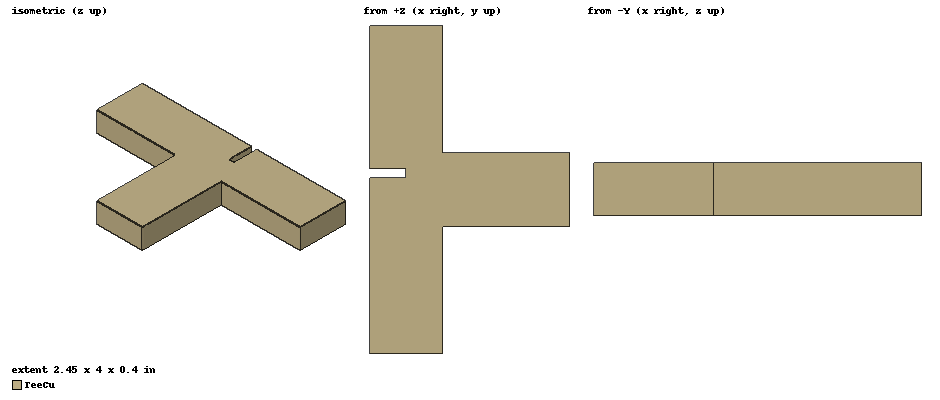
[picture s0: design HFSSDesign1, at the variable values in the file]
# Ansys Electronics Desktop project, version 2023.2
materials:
  vacuum: permittivity=1
  copper: permeability=0.999991 conductivity=58000000
  FR4_epoxy: permittivity=4.4 dielectric_loss_tangent=0.02

design HFSSDesign1 (HFSS, HFSS Modal Network, model units in)
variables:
  Offset = 0.2in
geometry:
  TeeCu [vacuum] = box(corner=(0in, -0.45in, 0in), size=(2in, 0.9in, 0.4in))
  TeeCu_1 = TeeCu.duplicate_around_axis(axis=Z, angle=90deg, total=2)
  TeeCu_2 = TeeCu.duplicate_around_axis(axis=Z, angle=-90deg, total=2)
  TeeCu.unite(TeeCu_1, TeeCu_2)
  Septum = box(corner=(-0.45in, Offset-0.05in, 0in), size=(0.45in, 0.1in, 0.4in))
  TeeCu.subtract(Septum)
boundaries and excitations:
  Port1: Wave Port Faces=TeeCu.face(+x) WavePortType=Default NumModes=1 Modes{Mode1{IntLine{(2, 0, 0) -> (2, 0, 0.4)} CharImp=Zpi}}
  Port2: Wave Port Faces=TeeCu.face(at (0, 2, 0.2)) WavePortType=Modal NumModes=1 Modes{Mode1{IntLine{(0, 2, 0) -> (0, 2, 0.4)} CharImp=Zpi}}
  Port3: Wave Port Faces=TeeCu.face(at (0, -2, 0.2)) WavePortType=Modal NumModes=1 Modes{Mode1{IntLine{(0, -2, 0) -> (0, -2, 0.4)} CharImp=Zpi}}
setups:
  Setup1: HfssDriven Frequency=10GHz MaxDeltaS=0.01 MaximumPasses=6 MinimumPasses=1 MinimumConvergedPasses=1 PercentRefinement=30 BasisOrder=1 PortAccuracy=2 DrivenSolverType="Direct Solver"
    sweep Sweep1: 8GHz to 10GHz step 0.05GHz; Type=Interpolating InterpTolerance=0.5 InterpMaxSolns=250 InterpUsePortImped=false PassivityErrorTolerance=0.0001
    sweep Sweep: 8GHz to 10GHz step 0.05GHz; Type=Interpolating InterpTolerance=0.5 InterpMaxSolns=250 InterpUsePortImped=false PassivityErrorTolerance=0.0001
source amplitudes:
  Port1:1: 1W 0deg
  Port2:1, Port3:1: 0W 0deg
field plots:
  Mag_E1: E Field over TeeCu.face(+z) on Setup1 : LastAdaptive at Freq=10GHz Phase=0deg
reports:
  S Parameter Plot 1: mag(S(Port1,Port1)), mag(S(Port1,Port2)), mag(S(Port1,Port3)) vs Freq on Setup1 : Sweep1 [Offset=all]
